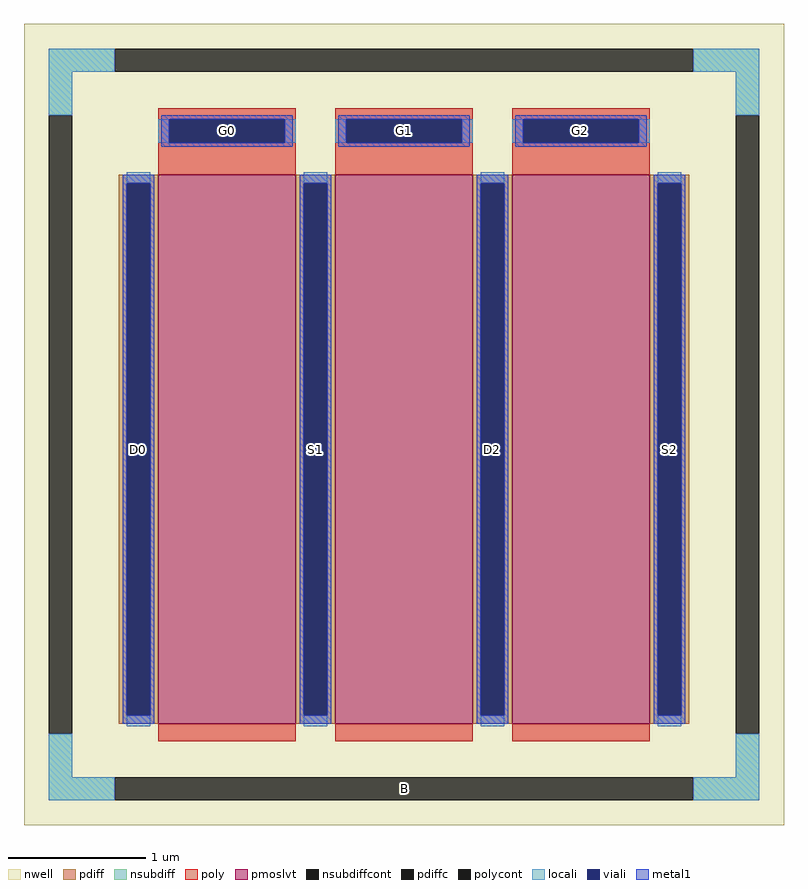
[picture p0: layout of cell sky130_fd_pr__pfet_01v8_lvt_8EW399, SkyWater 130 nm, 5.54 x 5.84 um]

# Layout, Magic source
magic
tech sky130A
magscale 1 2
<< nwell >>
rect -554 -584 554 584
<< pmoslvt >>
rect -358 -436 -158 364
rect -100 -436 100 364
rect 158 -436 358 364
<< pdiff >>
rect -416 352 -358 364
rect -416 -424 -404 352
rect -370 -424 -358 352
rect -416 -436 -358 -424
rect -158 352 -100 364
rect -158 -424 -146 352
rect -112 -424 -100 352
rect -158 -436 -100 -424
rect 100 352 158 364
rect 100 -424 112 352
rect 146 -424 158 352
rect 100 -436 158 -424
rect 358 352 416 364
rect 358 -424 370 352
rect 404 -424 416 352
rect 358 -436 416 -424
<< pdiffc >>
rect -404 -424 -370 352
rect -146 -424 -112 352
rect 112 -424 146 352
rect 370 -424 404 352
<< nsubdiff >>
rect -518 514 -422 548
rect 422 514 518 548
rect -518 451 -484 514
rect 484 451 518 514
rect -518 -514 -484 -451
rect 484 -514 518 -451
rect -518 -548 -422 -514
rect 422 -548 518 -514
<< nsubdiffcont >>
rect -422 514 422 548
rect -518 -451 -484 451
rect 484 -451 518 451
rect -422 -548 422 -514
<< poly >>
rect -358 445 -158 461
rect -358 411 -342 445
rect -174 411 -158 445
rect -358 364 -158 411
rect -100 445 100 461
rect -100 411 -84 445
rect 84 411 100 445
rect -100 364 100 411
rect 158 445 358 461
rect 158 411 174 445
rect 342 411 358 445
rect 158 364 358 411
rect -358 -462 -158 -436
rect -100 -462 100 -436
rect 158 -462 358 -436
<< polycont >>
rect -342 411 -174 445
rect -84 411 84 445
rect 174 411 342 445
<< locali >>
rect -518 514 -422 548
rect 422 514 518 548
rect -518 451 -484 514
rect 484 451 518 514
rect -358 411 -342 445
rect -174 411 -158 445
rect -100 411 -84 445
rect 84 411 100 445
rect 158 411 174 445
rect 342 411 358 445
rect -404 352 -370 368
rect -404 -440 -370 -424
rect -146 352 -112 368
rect -146 -440 -112 -424
rect 112 352 146 368
rect 112 -440 146 -424
rect 370 352 404 368
rect 370 -440 404 -424
rect -518 -514 -484 -451
rect 484 -514 518 -451
rect -518 -548 -422 -514
rect 422 -548 518 -514
<< viali >>
rect -342 411 -174 445
rect -84 411 84 445
rect 174 411 342 445
rect -404 -424 -370 352
rect -146 -424 -112 352
rect 112 -424 146 352
rect 370 -424 404 352
<< metal1 >>
rect -354 445 -162 451
rect -354 411 -342 445
rect -174 411 -162 445
rect -354 405 -162 411
rect -96 445 96 451
rect -96 411 -84 445
rect 84 411 96 445
rect -96 405 96 411
rect 162 445 354 451
rect 162 411 174 445
rect 342 411 354 445
rect 162 405 354 411
rect -410 352 -364 364
rect -410 -424 -404 352
rect -370 -424 -364 352
rect -410 -436 -364 -424
rect -152 352 -106 364
rect -152 -424 -146 352
rect -112 -424 -106 352
rect -152 -436 -106 -424
rect 106 352 152 364
rect 106 -424 112 352
rect 146 -424 152 352
rect 106 -436 152 -424
rect 364 352 410 364
rect 364 -424 370 352
rect 404 -424 410 352
rect 364 -436 410 -424
<< labels >>
rlabel nsubdiffcont 0 -531 0 -531 0 B
port 1 nsew
rlabel pdiffc -387 -36 -387 -36 0 D0
port 2 nsew
rlabel polycont -258 428 -258 428 0 G0
port 3 nsew
rlabel pdiffc -129 -36 -129 -36 0 S1
port 4 nsew
rlabel polycont 0 428 0 428 0 G1
port 5 nsew
rlabel pdiffc 129 -36 129 -36 0 D2
port 6 nsew
rlabel pdiffc 387 -36 387 -36 0 S2
port 7 nsew
rlabel polycont 258 428 258 428 0 G2
port 8 nsew
<< properties >>
string FIXED_BBOX -501 -531 501 531
string gencell sky130_fd_pr__pfet_01v8_lvt
string library sky130
string parameters w 4 l 1 m 1 nf 3 diffcov 100 polycov 100 guard 1 glc 1 grc 1 gtc 1 gbc 1 tbcov 100 rlcov 100 topc 1 botc 0 poverlap 0 doverlap 1 lmin 0.35 wmin 0.42 class mosfet compatible {sky130_fd_pr__pfet_01v8  sky130_fd_pr__pfet_01v8_lvt sky130_fd_pr__pfet_01v8_hvt  sky130_fd_pr__pfet_g5v0d10v5} full_metal 1 conn_gates 0 viasrc 100 viadrn 100 viagate 100 viagb 0 viagr 0 viagl 0 viagt 0 doports 1
<< end >>
